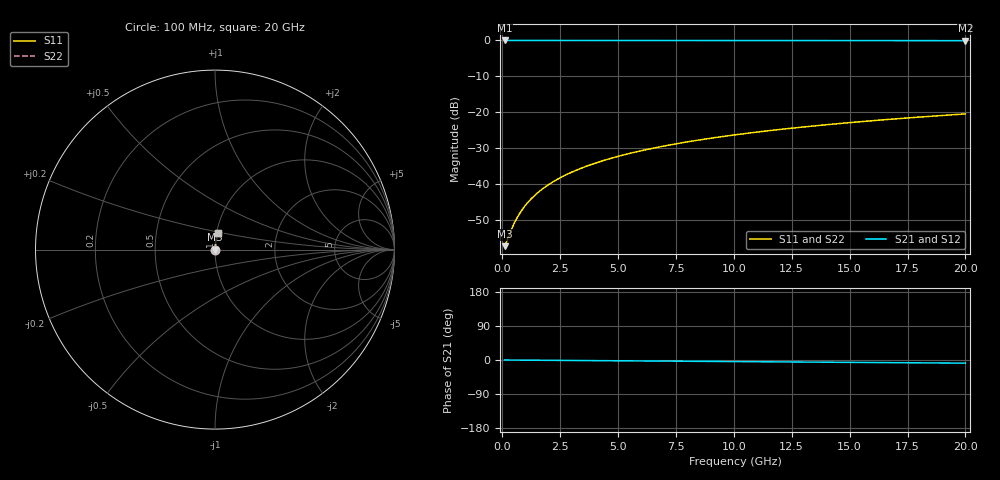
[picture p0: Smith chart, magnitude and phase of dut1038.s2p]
! Touchstone file exported from HFSS 2026.1.0
!  File:  C:/ffzhzh/LocalFiles/Ansys_Project_Files/temp_train_TSV_1038_1783189196_43440.aedt
!  Generated:  02:22:23 AM Jul  5, 2026
!  Design:  TSV
!  Project:  temp_train_TSV_1038_1783189196_43440
! Variables:
!  h_bsmrdl = 2um
!  h_ox = 20um
!  h_rdl = 5um
!  h_sub = 58.94um
!  h_tmrdl = 5um
!  h_tsv = 58.94um
!  h_via = 3um
!  l_bsmrdl = 300um
!  l_sub = 404.64um
!  l_tmrdl = 200um
!  m_sub = 200um
!  pitch = 36.17um
!  r_tsv = 2.32um
!  s_tmrdl = 10um
!  w_bsmrdl = 18um
!  w_sub = 500um
!  w_tmrdl = 12um
!  x_tsv_center1 = 206um
!  x_tsv_center2 = 524um
!  x_tsv_center3 = 736um
!  x_tsv_center4 = 1054um
!  x_tsv_center5 = 1266um
!  x_tsv_center6 = 1584um
# GHz S MA R 50.000000
! Terminal data exported
! Port[1] = TSV1_1_T1
! Port[2] = TSV1_1_T2
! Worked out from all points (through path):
!   200 points, 100 MHz to 20 GHz, reference 50 ohm
!   highest |S21| = -0.01 dB at 100 MHz (marker M1); lowest = -0.1 dB at 20 GHz (marker M2)
!   group delay of S21, straight-line fit = 1.15 ps
!   lowest |S11| = -57.2 dB at 100 MHz (marker M3), VSWR 1.00, Z = 50.1 + j0.0497 ohm
!   |S11| at or under -10 dB: start of sweep to end of sweep
!   |S22| runs from -57.2 to -20.4 dB; largest |S21 - S12| = 2.3e-15
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0.1  0.001374 21.1  0.9987 -0.0  0.9987 -0.0  0.001374 21.1
! Gamma 0 0 0 0
! Port Impedance 50 0 50 0
0.2  0.001623 37.6  0.9987 -0.1  0.9987 -0.1  0.001623 37.6
0.4  0.002365 56.6  0.9987 -0.2  0.9987 -0.2  0.002365 56.6
0.5  0.002791 62.0  0.9987 -0.2  0.9987 -0.2  0.002791 62.0
0.7  0.003689 68.8  0.9987 -0.3  0.9987 -0.3  0.003689 68.8
0.8  0.00415 71.1  0.9987 -0.3  0.9987 -0.3  0.00415 71.1
1  0.005086 74.4  0.9987 -0.4  0.9987 -0.4  0.005086 74.4
1.3  0.00651 77.5  0.9986 -0.5  0.9986 -0.5  0.00651 77.5
1.7  0.008427 80.0  0.9986 -0.7  0.9986 -0.7  0.008427 80.0
2.2  0.01084 81.8  0.9986 -0.9  0.9986 -0.9  0.01084 81.8
2.8  0.01374 82.9  0.9985 -1.2  0.9985 -1.2  0.01374 82.9
3.5  0.01713 83.7  0.9984 -1.5  0.9984 -1.5  0.01713 83.7
4.2  0.02052 84.0  0.9983 -1.8  0.9983 -1.8  0.02052 84.0
5  0.02439 84.2  0.9981 -2.1  0.9981 -2.1  0.02439 84.2
5.9  0.02873 84.2  0.9979 -2.5  0.9979 -2.5  0.02873 84.2
6.8  0.03306 84.1  0.9977 -2.9  0.9977 -2.9  0.03306 84.1
8.3  0.04025 83.8  0.9973 -3.5  0.9973 -3.5  0.04025 83.8
10.1  0.04881 83.3  0.9967 -4.2  0.9967 -4.2  0.04881 83.3
11.7  0.05638 82.8  0.9961 -4.9  0.9961 -4.9  0.05638 82.8
13.4  0.06437 82.2  0.9955 -5.6  0.9955 -5.6  0.06437 82.2
16.7  0.07976 81.0  0.994 -6.9  0.994 -6.9  0.07976 81.0
20  0.09498 79.8  0.9923 -8.3  0.9923 -8.3  0.09498 79.8
